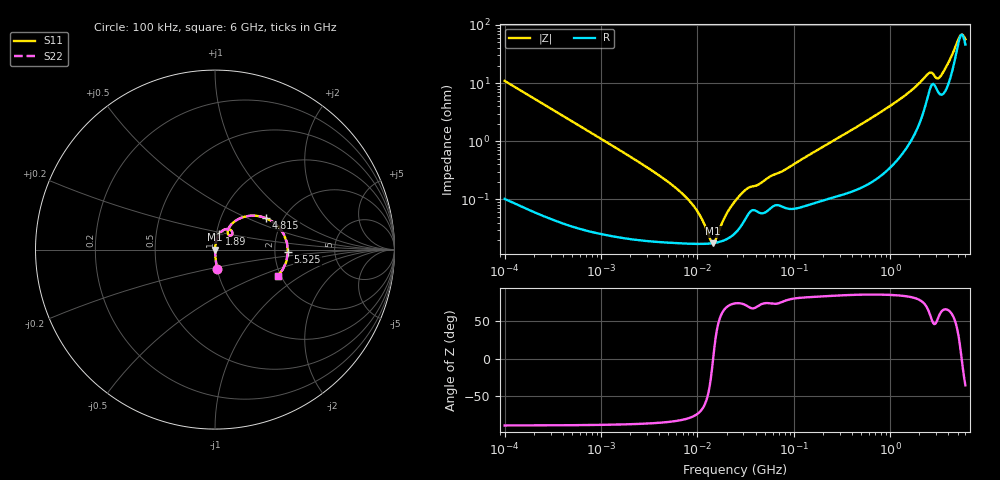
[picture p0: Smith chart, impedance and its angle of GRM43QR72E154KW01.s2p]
!Murata Part Number: GRM43QR72E154KW01
!These Parameters are Measured in Series Mode Connection
!Data Generated on Mar 30, 2021
!  o--ll--o
!Port1  Port2
!  o------o
!Operation Temp=25[degC], DC Bias Voltage=0[V]
!Freq. Start=100[kHz] Stop=6[GHz] 401[Steps]
# Hz S RI R 50
!Freq.(Hz) S11(Real) S11(Imag) S21(Real) S21(Imag) S12(Real) S12(Imag) S22(Real) S22(Imag)
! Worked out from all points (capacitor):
!   401 points, 100 kHz to 6 GHz, reference 50 ohm
!   read as one part in series: C = 145 nF near 105.7 kHz
!   lowest |Z| = 17.7 mohm at 14.52 MHz (marker M1)
!   series resonance near 14.54 MHz, so ESL is about 820 pH
!   S11 on the Smith chart (normalised r, x): 100 kHz: 1.00, -0.22; 1.89 GHz: 1.03, +0.18; 4.815 GHz: 1.64, +0.65; 5.525 GHz: 2.37, -0.08; 6 GHz: 1.92, -0.66
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100000  0.0128 -0.1078  0.9872 0.1078  0.9872 0.1078  0.0128 -0.1078
631452  0.000609 -0.0174  0.9994 0.0174  0.9994 0.0174  0.000609 -0.0174
3987316  0.000192 -0.00259  0.9998 0.00259  0.9998 0.00259  0.000192 -0.00259
6364321  0.000179 -0.00143  0.9998 0.00143  0.9998 0.00143  0.000179 -0.00143
8853126  0.000173 -0.000805  0.9998 0.000805  0.9998 0.000805  0.000173 -0.000805
1.073283e7  0.000172 -0.000483  0.9998 0.000483  0.9998 0.000483  0.000172 -0.000483
1.374747e7  0.000176 -8.86e-05  0.9998 8.86e-05  0.9998 8.86e-05  0.000176 -8.86e-05
1.452491e7  0.000177 -1.4e-06  0.9998 1.4e-06  0.9998 1.4e-06  0.000177 -1.4e-06
1.534632e7  0.00018 8.62e-05  0.9998 -8.62e-05  0.9998 -8.62e-05  0.00018 8.62e-05
2.020496e7  0.000209 0.000543  0.9998 -0.000543  0.9998 -0.000543  0.000209 0.000543
2.517799e7  0.000275 0.000951  0.9997 -0.000951  0.9997 -0.000951  0.000275 0.000951
3.314933e7  0.000539 0.00146  0.9995 -0.00146  0.9995 -0.00146  0.000539 0.00146
4.246031e7  0.000608 0.00168  0.9994 -0.00168  0.9994 -0.00168  0.000608 0.00168
1.546735e8  0.00088 0.00619  0.9991 -0.00619  0.9991 -0.00619  0.00088 0.00619
9.76689e8  0.00495 0.0392  0.9951 -0.0392  0.9951 -0.0392  0.00495 0.0392
1.889928e9  0.0235 0.0864  0.9765 -0.0864  0.9765 -0.0864  0.0235 0.0864
2.55767e9  0.0841 0.111  0.9159 -0.111  0.9159 -0.111  0.0841 0.111
3.187187e9  0.0715 0.0891  0.9285 -0.0891  0.9285 -0.0891  0.0715 0.0891
3.971646e9  0.1151 0.161  0.8849 -0.161  0.8849 -0.161  0.1151 0.161
4.814911e9  0.2856 0.1747  0.7144 -0.1747  0.7144 -0.1747  0.2856 0.1747
5.524782e9  0.4064 -0.0134  0.5936 0.0134  0.5936 0.0134  0.4064 -0.0134
6e9  0.3483 -0.1483  0.6517 0.1483  0.6517 0.1483  0.3483 -0.1483
